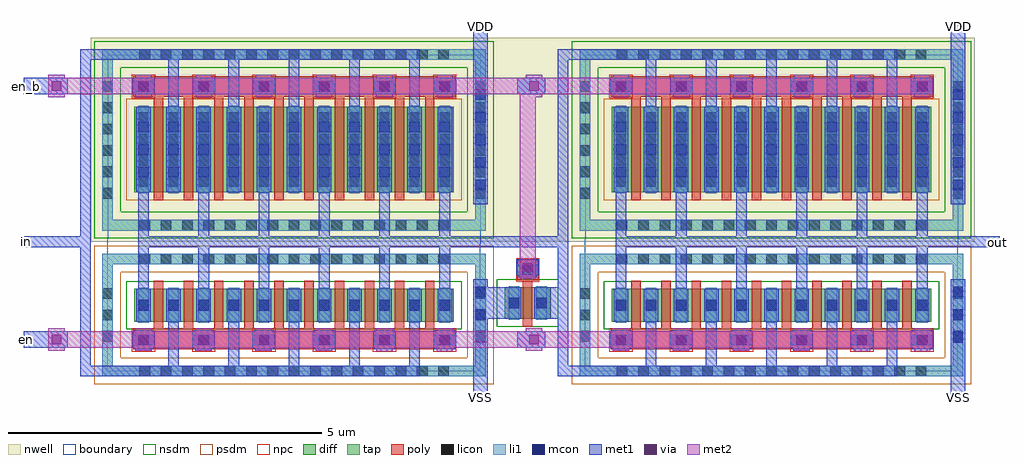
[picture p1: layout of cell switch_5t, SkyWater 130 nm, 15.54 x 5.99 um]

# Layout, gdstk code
from math import pi, radians
import gdstk
lib = gdstk.Library(unit=1e-6, precision=1e-09)
def R(c, l, rs):  # rectangles x0, y0, x1, y1
    for r in rs: c.add(gdstk.rectangle(r[:2], r[2:], *l))
def A(c, l, x, y, w, h, nx, ny, dx, dy):  # array of equal rectangles
    R(c, l, [(x+i*dx, y+j*dy, x+i*dx+w, y+j*dy+h) for i in range(nx) for j in range(ny)])
nwell = (64, 20)
diff = (65, 20)
tap = (65, 44)
poly = (66, 20)
licon = (66, 44)
li1 = (67, 20)
mcon = (67, 44)
met1 = (68, 20)
via = (68, 44)
met2 = (69, 20)
nsdm = (93, 44)
psdm = (94, 20)
npc = (95, 20)
boundary = (235, 4)

sky130_fd_pr__pfet_01v8_ = lib.new_cell('sky130_fd_pr__pfet_01v8_UNG2NQ')
R(sky130_fd_pr__pfet_01v8_, nwell, [(-3.23,-1.78,3.24,1.47)])
R(sky130_fd_pr__pfet_01v8_, diff, [(-2.54,-0.68,2.55,0.68)])
R(sky130_fd_pr__pfet_01v8_, tap, [(-3.05,-1.6,3.06,-1.43), (-3.05,-1.43,-2.88,1.12), (2.89,-1.43,3.06,1.12), (-3.05,1.12,3.06,1.29)])
A(sky130_fd_pr__pfet_01v8_, poly, -2.23, -0.84, 0.15, 1.65, 10, 1, 0.48, 0)
R(sky130_fd_pr__pfet_01v8_, poly, [(-2.56,-1.17,2.57,-0.84)])
A(sky130_fd_pr__pfet_01v8_, licon, -2.46, -1.6, 0.17, 0.17, 15, 2, 0.34, 2.72)
A(sky130_fd_pr__pfet_01v8_, licon, -3.05, -1.09, 0.17, 0.17, 1, 6, 0, 0.34)
A(sky130_fd_pr__pfet_01v8_, licon, -2.48, -1.09, 0.17, 0.17, 6, 1, 0.96, 0)
A(sky130_fd_pr__pfet_01v8_, licon, 2.89, -1.09, 0.17, 0.17, 1, 6, 0, 0.34)
A(sky130_fd_pr__pfet_01v8_, licon, -2.48, -0.595, 0.17, 0.17, 11, 4, 0.48, 0.34)
A(sky130_fd_pr__pfet_01v8_, li1, -2.56, -1.09, 0.33, 0.17, 6, 1, 0.96, 0)
A(sky130_fd_pr__pfet_01v8_, li1, -2.48, -0.7, 0.17, 1.4, 11, 1, 0.48, 0)
R(sky130_fd_pr__pfet_01v8_, li1, [(-3.05,-1.6,3.06,-1.43), (-3.05,-1.43,-2.88,1.12), (2.89,-1.43,3.06,1.12), (-3.05,1.12,3.06,1.29)])
A(sky130_fd_pr__pfet_01v8_, mcon, -2.48, -1.09, 0.17, 0.17, 6, 1, 0.96, 0)
A(sky130_fd_pr__pfet_01v8_, mcon, -2.48, -0.445, 0.17, 0.17, 11, 3, 0.48, 0.36)
A(sky130_fd_pr__pfet_01v8_, met1, -2.56, -1.13, 0.33, 0.25, 6, 1, 0.96, 0)
A(sky130_fd_pr__pfet_01v8_, met1, -2.51, -0.68, 0.23, 1.36, 11, 1, 0.48, 0)
R(sky130_fd_pr__pfet_01v8_, nsdm, [(-3.175,-1.725,3.185,-1.305), (-3.175,-1.305,-2.755,0.995), (2.765,-1.305,3.185,0.995), (-3.175,0.995,3.185,1.415)])
R(sky130_fd_pr__pfet_01v8_, psdm, [(-2.665,-0.805,2.675,0.805)])
A(sky130_fd_pr__pfet_01v8_, npc, -2.58, -1.19, 0.37, 0.37, 6, 1, 0.96, 0)
R(sky130_fd_pr__pfet_01v8_, boundary, [(-2.97,-1.51,2.97,1.51)])

sky130_fd_pr__nfet_01v8_ = lib.new_cell('sky130_fd_pr__nfet_01v8_6J4AMR')
R(sky130_fd_pr__nfet_01v8_, diff, [(-2.54,-0.26,2.55,0.26)])
R(sky130_fd_pr__nfet_01v8_, tap, [(-3.05,-1.13,3.06,-0.96), (-3.05,-0.96,-2.88,0.65), (2.89,-0.96,3.06,0.65), (-3.05,0.65,3.06,0.82)])
A(sky130_fd_pr__nfet_01v8_, poly, -2.23, -0.37, 0.15, 0.76, 10, 1, 0.48, 0)
R(sky130_fd_pr__nfet_01v8_, poly, [(-2.56,-0.7,2.57,-0.37)])
A(sky130_fd_pr__nfet_01v8_, licon, -2.46, -1.13, 0.17, 0.17, 15, 2, 0.34, 1.78)
A(sky130_fd_pr__nfet_01v8_, licon, -2.48, -0.64, 0.17, 0.17, 6, 1, 0.96, 0)
A(sky130_fd_pr__nfet_01v8_, licon, -3.05, -0.58, 0.17, 0.17, 1, 3, 0, 0.34)
A(sky130_fd_pr__nfet_01v8_, licon, 2.89, -0.58, 0.17, 0.17, 1, 3, 0, 0.34)
A(sky130_fd_pr__nfet_01v8_, licon, -2.48, -0.085, 0.17, 0.17, 11, 1, 0.48, 0)
A(sky130_fd_pr__nfet_01v8_, li1, -2.56, -0.64, 0.33, 0.17, 6, 1, 0.96, 0)
A(sky130_fd_pr__nfet_01v8_, li1, -2.48, -0.28, 0.17, 0.56, 11, 1, 0.48, 0)
R(sky130_fd_pr__nfet_01v8_, li1, [(-3.05,-1.13,3.06,-0.96), (-3.05,-0.96,-2.88,0.65), (2.89,-0.96,3.06,0.65), (-3.05,0.65,3.06,0.82)])
A(sky130_fd_pr__nfet_01v8_, mcon, -2.48, -0.64, 0.17, 0.17, 6, 1, 0.96, 0)
A(sky130_fd_pr__nfet_01v8_, mcon, -2.48, -0.085, 0.17, 0.17, 11, 1, 0.48, 0)
A(sky130_fd_pr__nfet_01v8_, met1, -2.56, -0.7, 0.33, 0.3, 6, 1, 0.96, 0)
A(sky130_fd_pr__nfet_01v8_, met1, -2.51, -0.26, 0.23, 0.52, 11, 1, 0.48, 0)
R(sky130_fd_pr__nfet_01v8_, nsdm, [(-2.665,-0.385,2.675,0.385)])
R(sky130_fd_pr__nfet_01v8_, psdm, [(-3.175,-1.255,3.185,-0.835), (-3.175,-0.835,-2.755,0.525), (2.765,-0.835,3.185,0.525), (-3.175,0.525,3.185,0.945)])
A(sky130_fd_pr__nfet_01v8_, npc, -2.58, -0.74, 0.37, 0.37, 6, 1, 0.96, 0)
R(sky130_fd_pr__nfet_01v8_, boundary, [(-2.97,-1.05,2.97,1.05)])

transmission_gate = lib.new_cell('transmission_gate')
R(transmission_gate, li1, [(5.855,0.405,6.025,1.405), (5.855,2.725,6.025,4.655)])
A(transmission_gate, mcon, 5.855, 0.46, 0.17, 0.17, 1, 3, 0, 0.36)
A(transmission_gate, mcon, 5.855, 2.885, 0.17, 0.17, 1, 5, 0, 0.36)
A(transmission_gate, met1, 0.965, 0.095, 0.17, 0.805, 5, 2, 0.96, 4.065)
A(transmission_gate, met1, 1.345, 0.38, 0.36, 0.26, 3, 1, 0.96, 0)
A(transmission_gate, met1, 0.485, 1.265, 0.17, 0.715, 6, 1, 0.96, 0)
A(transmission_gate, met1, 0.485, 2.15, 0.17, 0.89, 6, 1, 0.96, 0)
A(transmission_gate, met1, 2.31, 4.415, 0.36, 0.26, 4, 1, 0.96, 0)
R(transmission_gate, met1, [(5.825,-0.255,6.055,1.465), (-0.435,-0.075,4.975,0.095), (-0.435,0.095,-0.265,1.98), (4.23,0.375,4.59,0.635), (5.19,0.375,5.55,0.635), (-1.08,0.38,-0.635,0.64), (0.39,0.38,0.75,0.64), (-1.08,1.98,-0.265,2.15), (0.485,1.98,6.415,2.15), (-0.435,2.15,-0.265,4.965), (5.825,2.665,6.055,5.315), (-1.08,4.415,-0.635,4.675), (0.39,4.415,0.75,4.675), (1.355,4.415,1.715,4.675), (-0.435,4.965,4.975,5.135)])
A(transmission_gate, via, 1.45, 0.435, 0.15, 0.15, 3, 1, 0.96, 0)
A(transmission_gate, via, 2.415, 4.47, 0.15, 0.15, 4, 1, 0.96, 0)
R(transmission_gate, via, [(4.335,0.43,4.485,0.58), (5.295,0.43,5.445,0.58), (-0.89,0.435,-0.74,0.585), (0.495,0.435,0.645,0.585), (-0.89,4.47,-0.74,4.62), (0.495,4.47,0.645,4.62), (1.46,4.47,1.61,4.62)])
A(transmission_gate, met2, 1.395, 0.33, 0.26, 0.05, 3, 2, 0.96, 0.31)
A(transmission_gate, met2, 2.36, 4.365, 0.26, 0.05, 4, 2, 0.96, 0.31)
R(transmission_gate, met2, [(4.28,0.325,4.54,0.38), (5.24,0.325,5.5,0.38), (-0.945,0.33,-0.685,0.38), (0.44,0.33,0.7,0.38), (-0.945,0.38,5.535,0.64), (-0.945,0.64,-0.685,0.69), (0.44,0.64,0.7,0.69), (4.28,0.64,4.54,0.685), (5.24,0.64,5.5,0.685), (-0.945,4.365,-0.685,4.415), (0.44,4.365,0.7,4.415), (1.405,4.365,1.665,4.415), (-0.945,4.415,5.535,4.675), (-0.945,4.675,-0.685,4.725), (0.44,4.675,0.7,4.725), (1.405,4.675,1.665,4.725)])
transmission_gate.add(gdstk.Reference(sky130_fd_pr__pfet_01v8_, (2.975,3.535), rotation=pi))
transmission_gate.add(gdstk.Reference(sky130_fd_pr__nfet_01v8_, (2.965,1.055)))
transmission_gate.add(gdstk.Label('en_b', (-1.055,4.545), layer=68, texttype=5))
transmission_gate.add(gdstk.Label('in', (-1.06,2.065), layer=68, texttype=5))
transmission_gate.add(gdstk.Label('en', (-1.06,0.51), layer=68, texttype=5))
transmission_gate.add(gdstk.Label('out', (6.395,2.06), layer=68, texttype=5))
transmission_gate.add(gdstk.Label('VDD', (5.94,5.29), layer=68, texttype=5))
transmission_gate.add(gdstk.Label('VSS', (5.94,-0.24), layer=68, texttype=5))

c_sky130_fd_pr__nfet_01v8_ = lib.new_cell('sky130_fd_pr__nfet_01v8_E56BNL')
R(c_sky130_fd_pr__nfet_01v8_, diff, [(-0.365,-0.445,0.365,0.055)])
R(c_sky130_fd_pr__nfet_01v8_, poly, [(-0.075,-0.575,0.075,0.165), (-0.165,0.165,0.165,0.495)])
R(c_sky130_fd_pr__nfet_01v8_, licon, [(-0.305,-0.28,-0.135,-0.11), (0.135,-0.28,0.305,-0.11), (-0.085,0.245,0.085,0.415)])
R(c_sky130_fd_pr__nfet_01v8_, li1, [(-0.305,-0.465,-0.135,0.075), (0.135,-0.465,0.305,0.075), (-0.165,0.245,0.165,0.415)])
R(c_sky130_fd_pr__nfet_01v8_, mcon, [(-0.305,-0.28,-0.135,-0.11), (0.135,-0.28,0.305,-0.11), (-0.085,0.245,0.085,0.415)])
R(c_sky130_fd_pr__nfet_01v8_, met1, [(-0.335,-0.445,-0.105,0.055), (0.105,-0.445,0.335,0.055), (-0.145,0.215,0.145,0.445)])
R(c_sky130_fd_pr__nfet_01v8_, nsdm, [(-0.49,-0.57,0.49,0.18)])
R(c_sky130_fd_pr__nfet_01v8_, npc, [(-0.185,0.145,0.185,0.515)])

switch_5t = lib.new_cell('switch_5t')
R(switch_5t, nwell, [(7.135,2.34,9.01,5.59)])
R(switch_5t, met1, [(6.9,-0.18,7.13,0.25), (14.505,-0.175,14.735,0.505), (-0.265,0.655,-0.005,0.915), (7.105,1.115,7.63,1.195), (8.015,1.115,8.325,1.195), (6.9,1.195,7.63,1.615), (7.9,1.195,8.415,1.615), (7.585,1.805,7.945,2.065), (-0.265,2.255,0.465,2.425), (7.28,2.255,8.26,2.425), (14.925,2.255,15.28,2.425), (-0.265,4.69,-0.005,4.95), (6.9,5.36,7.13,5.81), (14.505,5.36,14.735,5.795)])
R(switch_5t, via, [(7.69,1.86,7.84,2.01)])
R(switch_5t, met2, [(6.315,0.655,8.315,0.915), (7.635,1.755,7.895,4.69), (6.31,4.69,8.63,4.95)])
switch_5t.add(gdstk.Reference(transmission_gate, (8.68,0.275)))
switch_5t.add(gdstk.Reference(transmission_gate, (1.075,0.275)))
switch_5t.add(gdstk.Reference(c_sky130_fd_pr__nfet_01v8_, (7.765,1.56)))
switch_5t.add(gdstk.Label('VDD', (7.015,5.765), layer=68, texttype=5))
switch_5t.add(gdstk.Label('VSS', (7.015,-0.145), layer=68, texttype=5))
switch_5t.add(gdstk.Label('en_b', (-0.215,4.815), layer=68, texttype=5))
switch_5t.add(gdstk.Label('en', (-0.225,0.785), layer=68, texttype=5))
switch_5t.add(gdstk.Label('in', (-0.22,2.34), layer=68, texttype=5))
switch_5t.add(gdstk.Label('out', (15.255,2.335), layer=68, texttype=5))
switch_5t.add(gdstk.Label('VDD', (14.62,5.77), layer=68, texttype=5))
switch_5t.add(gdstk.Label('VSS', (14.62,-0.14), layer=68, texttype=5))

lib.write_gds('switch_5t.gds')
